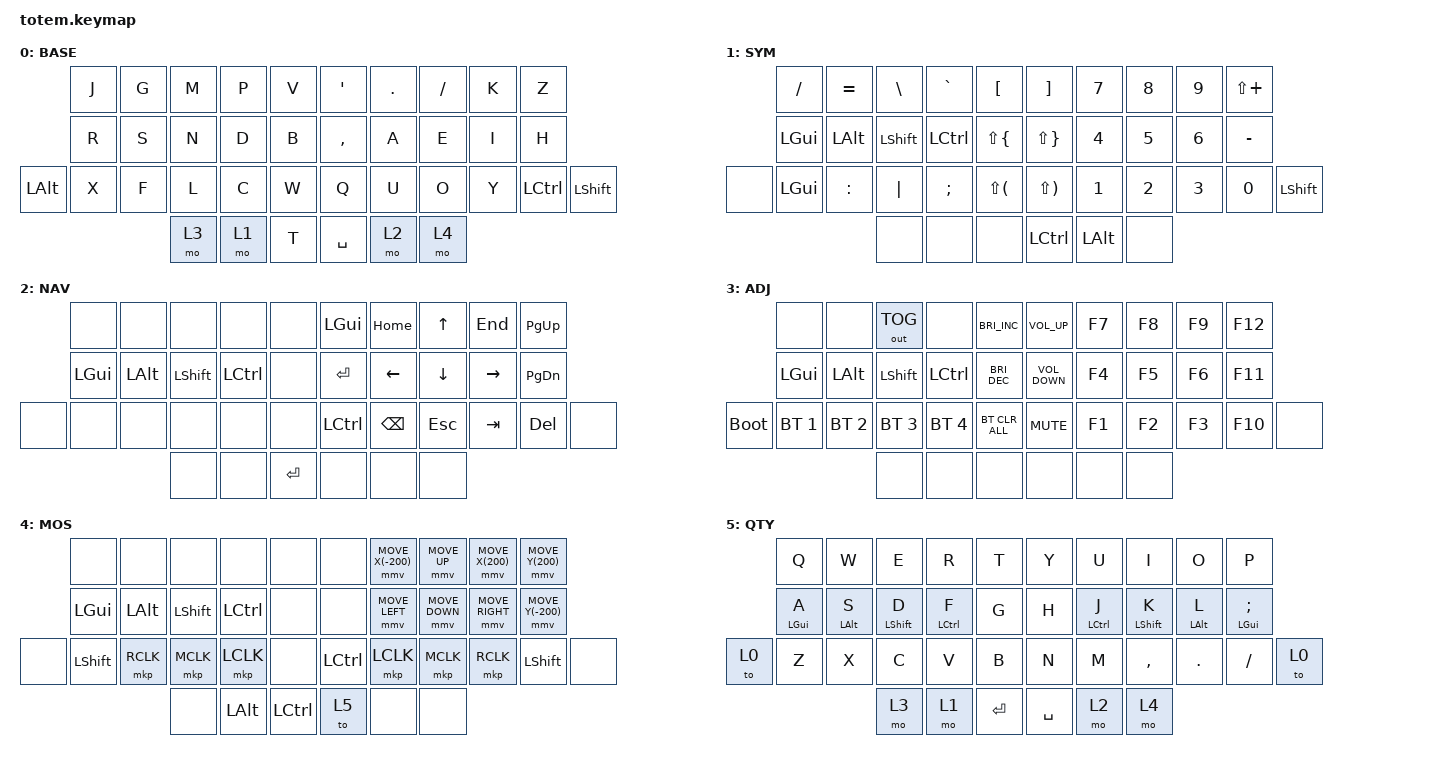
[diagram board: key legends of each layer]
//
//                                                        ▀▀▀▀▀     ▀▀▀▀▀          ▀▀█▀▀
//                                                        ▄▀▀▀▄  ▄  ▄▀▀▀▄  ▄  ▄▀▀▀▄  █  ▄▀▀▀▄
//                                                        █   █  █  █   █  █  █   █  █  █   █
//                                                         ▀▀▀   █   ▀▀▀   █   ▀▀▀   ▀   ▀▀▀
//                                                               █      ▄▄▄█▄▄▄    █   █  
//                                                               ▀      █  █  █     █▄█
//                                                             ▀▀▀▀▀    █  █  █      ▀
//                                                                      ▀  ▀  ▀
//
// ▄▄▄▄▄▄▄▄▄▄▄▄▄▄▄▄▄▄▄▄▄▄▄▄▄▄▄▄▄▄▄▄▄▄▄▄▄▄▄▄▄▄▄▄▄▄▄▄▄▄▄▄▄▄▄▄▄▄▄▄▄▄▄▄▄▄▄▄▄▄▄▄▄▄▄▄▄▄▄▄▄▄▄▄▄▄▄▄▄▄▄▄▄▄▄▄▄▄▄▄▄▄▄▄▄▄▄▄▄▄▄▄▄▄▄▄▄▄▄▄▄▄▄▄▄▄▄▄▄▄▄▄▄▄▄▄▄▄▄▄▄▄▄▄▄▄▄▄▄

#include <behaviors.dtsi>
#include <dt-bindings/zmk/bt.h>
#include <dt-bindings/zmk/keys.h>
#include <dt-bindings/zmk/outputs.h>
#include <dt-bindings/zmk/pointing.h>

#define BASE 0
#define NAV  1
#define SYM  2
#define ADJ  3

/ {
    combos { compatible = "zmk,combos"; };

    keymap {
        compatible = "zmk,keymap";

        // ▄▄▄▄▄▄▄▄▄▄▄▄▄▄▄▄▄▄▄▄▄▄▄▄▄▄▄▄▄▄▄▄▄▄▄▄▄▄▄▄▄▄▄▄▄▄▄▄▄▄▄▄▄▄▄▄▄▄▄▄▄▄▄▄▄▄▄▄▄▄▄▄▄▄▄▄▄▄▄▄▄▄▄▄▄▄▄▄▄▄▄▄▄▄▄▄▄▄▄▄▄▄▄▄▄▄▄▄▄▄▄▄▄▄▄▄▄▄▄▄▄▄▄▄▄▄▄▄▄▄▄▄▄▄▄▄▄▄▄▄▄▄▄▄▄▄▄▄▄

        base_layer {
            // ┏━━━━━━━━━━━━━━━━━━━━━━━━━━━━━━━━━━━━━━━┓

            label = "BASE";

            // ┗━━━━━━━━━━━━━━━━━━━━━━━━━━━━━━━━━━━━━━━┛
            //             ┏━━━━━━━━━━━┳━━━━━━━━━━━┳━━━━━━━━━━━┳━━━━━━━━━━━┳━━━━━━━━━━━┓   ┏━━━━━━━━━━━┳━━━━━━━━━━━┳━━━━━━━━━━━┳━━━━━━━━━━━┳━━━━━━━━━━━┓
            //             ┃     Q     ┃     W     ┃     F     ┃     P     ┃     G     ┃   ┃     J     ┃     L     ┃     U     ┃     Y     ┃     ;     ┃
            //             ┣━━━━━━━━━━━╋━━━━━━━━━━━╋━━━━━━━━━━━╋━━━━━━━━━━━╋━━━━━━━━━━━┫   ┣━━━━━━━━━━━╋━━━━━━━━━━━╋━━━━━━━━━━━╋━━━━━━━━━━━╋━━━━━━━━━━━┫
            //             ┃     A     ┃     R     ┃     S     ┃     T     ┃     D     ┃   ┃     H     ┃     N     ┃     E     ┃     I     ┃     O     ┃
            // ┏━━━━━━━━━━━╋━━━━━━━━━━━╋━━━━━━━━━━━╋━━━━━━━━━━━╋━━━━━━━━━━━╋━━━━━━━━━━━┫   ┣━━━━━━━━━━━╋━━━━━━━━━━━╋━━━━━━━━━━━╋━━━━━━━━━━━╋━━━━━━━━━━━╋━━━━━━━━━━━┓
            // ┃           ┃     Z     ┃     X     ┃     C     ┃     V     ┃     B     ┃   ┃     K     ┃     M     ┃     ,     ┃     .     ┃     /     ┃           ┃
            // ┗━━━━━━━━━━━┻━━━━━━━━━━━┻━━━━━━━━━━━╋━━━━━━━━━━━╋━━━━━━━━━━━╋━━━━━━━━━━━┫   ┣━━━━━━━━━━━╋━━━━━━━━━━━╋━━━━━━━━━━━╋━━━━━━━━━━━┻━━━━━━━━━━━┻━━━━━━━━━━━┛
            //                                     ┃           ┃    TAB    ┃    SPC    ┃   ┃   ENTER   ┃   BSPC    ┃           ┃
            //                                     ┗━━━━━━━━━━━┻━━━━━━━━━━━┻━━━━━━━━━━━┛   ┗━━━━━━━━━━━┻━━━━━━━━━━━┻━━━━━━━━━━━┛

            bindings = <
              &kp J  &kp G  &kp M  &kp P  &kp V    &kp SINGLE_QUOTE  &kp PERIOD  &kp SLASH  &kp K  &kp Z
              &kp R  &kp S  &kp N  &kp D  &kp B    &kp COMMA         &kp A       &kp E      &kp I  &kp H
&kp LEFT_ALT  &kp X  &kp F  &kp L  &kp C  &kp W    &kp Q             &kp U       &kp O      &kp Y  &kp LCTRL  &kp LEFT_SHIFT
                            &mo 3  &mo 1  &kp T    &kp SPACE         &mo 2       &mo 4
            >;
        };

        // ▄▄▄▄▄▄▄▄▄▄▄▄▄▄▄▄▄▄▄▄▄▄▄▄▄▄▄▄▄▄▄▄▄▄▄▄▄▄▄▄▄▄▄▄▄▄▄▄▄▄▄▄▄▄▄▄▄▄▄▄▄▄▄▄▄▄▄▄▄▄▄▄▄▄▄▄▄▄▄▄▄▄▄▄▄▄▄▄▄▄▄▄▄▄▄▄▄▄▄▄▄▄▄▄▄▄▄▄▄▄▄▄▄▄▄▄▄▄▄▄▄▄▄▄▄▄▄▄▄▄▄▄▄▄▄▄▄▄▄▄▄▄▄▄▄▄▄▄▄

        SYM_LAYER {
            // ┏━━━━━━━━━━━━━━━━━━━━━━━━━━━━━━━━━━━━━━━┓

            label = "SYM";

            // ┗━━━━━━━━━━━━━━━━━━━━━━━━━━━━━━━━━━━━━━━┛
            //             ┏━━━━━━━━━━━┳━━━━━━━━━━━┳━━━━━━━━━━━┳━━━━━━━━━━━┳━━━━━━━━━━━┓   ┏━━━━━━━━━━━┳━━━━━━━━━━━┳━━━━━━━━━━━┳━━━━━━━━━━━┳━━━━━━━━━━━┓
            //             ┃           ┃           ┃     UP    ┃           ┃     {     ┃   ┃     }     ┃     7     ┃     8     ┃     9     ┃     +     ┃
            //             ┣━━━━━━━━━━━╋━━━━━━━━━━━╋━━━━━━━━━━━╋━━━━━━━━━━━╋━━━━━━━━━━━┫   ┣━━━━━━━━━━━╋━━━━━━━━━━━╋━━━━━━━━━━━╋━━━━━━━━━━━╋━━━━━━━━━━━┫
            //             ┃   SHIFT   ┃   LEFT    ┃    DOWN   ┃   RIGHT   ┃     [     ┃   ┃     ]     ┃     4     ┃     5     ┃     6     ┃     -     ┃
            // ┏━━━━━━━━━━━╋━━━━━━━━━━━╋━━━━━━━━━━━╋━━━━━━━━━━━╋━━━━━━━━━━━╋━━━━━━━━━━━┫   ┣━━━━━━━━━━━╋━━━━━━━━━━━╋━━━━━━━━━━━╋━━━━━━━━━━━╋━━━━━━━━━━━╋━━━━━━━━━━━┓
            // ┃           ┃           ┃   P UP    ┃  C LOCK   ┃  P DOWN   ┃     (     ┃   ┃     )     ┃     1     ┃     2     ┃     3     ┃     *     ┃           ┃
            // ┗━━━━━━━━━━━┻━━━━━━━━━━━┻━━━━━━━━━━━╋━━━━━━━━━━━╋━━━━━━━━━━━╋━━━━━━━━━━━┫   ┣━━━━━━━━━━━╋━━━━━━━━━━━╋━━━━━━━━━━━╋━━━━━━━━━━━┻━━━━━━━━━━━┻━━━━━━━━━━━┛
            //                                     ┃           ┃    TAB    ┃    SPC    ┃   ┃    DEL    ┃     0     ┃           ┃
            //                                     ┗━━━━━━━━━━━┻━━━━━━━━━━━┻━━━━━━━━━━━┛   ┗━━━━━━━━━━━┻━━━━━━━━━━━┻━━━━━━━━━━━┛

            bindings = <
       &kp SLASH  &kp EQUAL  &kp BSLH   &kp GRAVE  &kp LBKT                    &kp RBKT      &kp N7        &kp N8  &kp N9  &kp LS(PLUS)
       &kp LGUI   &kp LALT   &kp LSHFT  &kp LCTRL  &kp LS(LBRC)                &kp LS(RBRC)  &kp N4        &kp N5  &kp N6  &kp MINUS
&none  &kp LGUI   &kp COLON  &kp PIPE   &kp SEMI   &kp LS(LEFT_PARENTHESIS)    &kp LS(RPAR)  &kp N1        &kp N2  &kp N3  &kp N0        &kp LEFT_SHIFT
                             &none      &none      &none                       &kp LCTRL     &kp LEFT_ALT  &none
            >;
        };

        // ▄▄▄▄▄▄▄▄▄▄▄▄▄▄▄▄▄▄▄▄▄▄▄▄▄▄▄▄▄▄▄▄▄▄▄▄▄▄▄▄▄▄▄▄▄▄▄▄▄▄▄▄▄▄▄▄▄▄▄▄▄▄▄▄▄▄▄▄▄▄▄▄▄▄▄▄▄▄▄▄▄▄▄▄▄▄▄▄▄▄▄▄▄▄▄▄▄▄▄▄▄▄▄▄▄▄▄▄▄▄▄▄▄▄▄▄▄▄▄▄▄▄▄▄▄▄▄▄▄▄▄▄▄▄▄▄▄▄▄▄▄▄▄▄▄▄▄▄▄

        NAV_LAYER {
            // ┏━━━━━━━━━━━━━━━━━━━━━━━━━━━━━━━━━━━━━━━┓

            label = "NAV";

            // ┗━━━━━━━━━━━━━━━━━━━━━━━━━━━━━━━━━━━━━━━┛
            //             ┏━━━━━━━━━━━┳━━━━━━━━━━━┳━━━━━━━━━━━┳━━━━━━━━━━━┳━━━━━━━━━━━┓   ┏━━━━━━━━━━━┳━━━━━━━━━━━┳━━━━━━━━━━━┳━━━━━━━━━━━┳━━━━━━━━━━━┓
            //             ┃     !     ┃     @     ┃     #     ┃     $     ┃     %     ┃   ┃     ˆ     ┃     &     ┃     Ü     ┃     '     ┃     "     ┃
            //             ┣━━━━━━━━━━━╋━━━━━━━━━━━╋━━━━━━━━━━━╋━━━━━━━━━━━╋━━━━━━━━━━━┫   ┣━━━━━━━━━━━╋━━━━━━━━━━━╋━━━━━━━━━━━╋━━━━━━━━━━━╋━━━━━━━━━━━┫
            //             ┃     Ä     ┃           ┃    SZ     ┃           ┃           ┃   ┃   MUTE    ┃   YEN     ┃   EURO    ┃  POUND    ┃     Ö     ┃
            // ┏━━━━━━━━━━━╋━━━━━━━━━━━╋━━━━━━━━━━━╋━━━━━━━━━━━╋━━━━━━━━━━━╋━━━━━━━━━━━┫   ┣━━━━━━━━━━━╋━━━━━━━━━━━╋━━━━━━━━━━━╋━━━━━━━━━━━╋━━━━━━━━━━━╋━━━━━━━━━━━┓
            // ┃           ┃  EMAIL1   ┃  EMAIL2   ┃           ┃           ┃           ┃   ┃   VOL-    ┃   VOL+    ┃   LAST    ┃   NEXT    ┃     \     ┃           ┃
            // ┗━━━━━━━━━━━┻━━━━━━━━━━━┻━━━━━━━━━━━╋━━━━━━━━━━━╋━━━━━━━━━━━╋━━━━━━━━━━━┫   ┣━━━━━━━━━━━╋━━━━━━━━━━━╋━━━━━━━━━━━╋━━━━━━━━━━━┻━━━━━━━━━━━┻━━━━━━━━━━━┛
            //                                     ┃           ┃    GIF    ┃    ADJ    ┃   ┃           ┃           ┃           ┃
            //                                     ┗━━━━━━━━━━━┻━━━━━━━━━━━┻━━━━━━━━━━━┛   ┗━━━━━━━━━━━┻━━━━━━━━━━━┻━━━━━━━━━━━┛

            bindings = <
       &none     &none     &none      &none      &none        &kp LGUI   &kp HOME  &kp UP    &kp END    &kp PG_UP
       &kp LGUI  &kp LALT  &kp LSHFT  &kp LCTRL  &none        &kp ENTER  &kp LEFT  &kp DOWN  &kp RIGHT  &kp PG_DN
&none  &none     &none     &none      &none      &none        &kp LCTRL  &kp BSPC  &kp ESC   &kp TAB    &kp DEL    &none
                           &none      &none      &kp ENTER    &none      &none     &none
            >;
        };

        // ▄▄▄▄▄▄▄▄▄▄▄▄▄▄▄▄▄▄▄▄▄▄▄▄▄▄▄▄▄▄▄▄▄▄▄▄▄▄▄▄▄▄▄▄▄▄▄▄▄▄▄▄▄▄▄▄▄▄▄▄▄▄▄▄▄▄▄▄▄▄▄▄▄▄▄▄▄▄▄▄▄▄▄▄▄▄▄▄▄▄▄▄▄▄▄▄▄▄▄▄▄▄▄▄▄▄▄▄▄▄▄▄▄▄▄▄▄▄▄▄▄▄▄▄▄▄▄▄▄▄▄▄▄▄▄▄▄▄▄▄▄▄▄▄▄▄▄▄▄

        adjust_layer {
            // ┏━━━━━━━━━━━━━━━━━━━━━━━━━━━━━━━━━━━━━━━┓

            label = "ADJ";

            // ┗━━━━━━━━━━━━━━━━━━━━━━━━━━━━━━━━━━━━━━━┛
            //             ┏━━━━━━━━━━━┳━━━━━━━━━━━┳━━━━━━━━━━━┳━━━━━━━━━━━┳━━━━━━━━━━━┓   ┏━━━━━━━━━━━┳━━━━━━━━━━━┳━━━━━━━━━━━┳━━━━━━━━━━━┳━━━━━━━━━━━┓
            //             ┃   RESET   ┃ BT CLEAR  ┃  OUT TOG  ┃           ┃           ┃   ┃           ┃    F7     ┃    F8     ┃    F9     ┃    F12    ┃
            //             ┣━━━━━━━━━━━╋━━━━━━━━━━━╋━━━━━━━━━━━╋━━━━━━━━━━━╋━━━━━━━━━━━┫   ┣━━━━━━━━━━━╋━━━━━━━━━━━╋━━━━━━━━━━━╋━━━━━━━━━━━╋━━━━━━━━━━━┫
            //             ┃ BOOTLOAD  ┃ BT NEXT   ┃           ┃           ┃           ┃   ┃           ┃    F4     ┃    F5     ┃    F6     ┃    F11    ┃
            // ┏━━━━━━━━━━━╋━━━━━━━━━━━╋━━━━━━━━━━━╋━━━━━━━━━━━╋━━━━━━━━━━━╋━━━━━━━━━━━┫   ┣━━━━━━━━━━━╋━━━━━━━━━━━╋━━━━━━━━━━━╋━━━━━━━━━━━╋━━━━━━━━━━━╋━━━━━━━━━━━┓
            // ┃           ┃           ┃ BT PREV   ┃           ┃           ┃           ┃   ┃           ┃    F1     ┃    F2     ┃    F3     ┃    F10    ┃           ┃
            // ┗━━━━━━━━━━━┻━━━━━━━━━━━┻━━━━━━━━━━━╋━━━━━━━━━━━╋━━━━━━━━━━━╋━━━━━━━━━━━┫   ┣━━━━━━━━━━━╋━━━━━━━━━━━╋━━━━━━━━━━━╋━━━━━━━━━━━┻━━━━━━━━━━━┻━━━━━━━━━━━┛
            //                                     ┃           ┃           ┃           ┃   ┃           ┃           ┃           ┃
            //                                     ┗━━━━━━━━━━━┻━━━━━━━━━━━┻━━━━━━━━━━━┛   ┗━━━━━━━━━━━┻━━━━━━━━━━━┻━━━━━━━━━━━┛

            bindings = <
             &none         &none         &out OUT_TOG  &none         &kp C_BRIGHTNESS_INC    &kp C_VOLUME_UP    &kp F7  &kp F8  &kp F9  &kp F12
             &kp LGUI      &kp LALT      &kp LSHFT     &kp LCTRL     &kp C_BRIGHTNESS_DEC    &kp C_VOLUME_DOWN  &kp F4  &kp F5  &kp F6  &kp F11
&bootloader  &bt BT_SEL 1  &bt BT_SEL 2  &bt BT_SEL 3  &bt BT_SEL 4  &bt BT_CLR_ALL          &kp K_MUTE         &kp F1  &kp F2  &kp F3  &kp F10  &none
                                         &none         &none         &none                   &none              &none   &none
            >;
        };

        MOUSE_LAYER {
            bindings = <
       &none      &none      &none      &none         &none        &none      &mmv MOVE_X(-200)  &mmv MOVE_UP    &mmv MOVE_X(200)  &mmv MOVE_Y(200)
       &kp LGUI   &kp LALT   &kp LSHFT  &kp LCTRL     &none        &none      &mmv MOVE_LEFT     &mmv MOVE_DOWN  &mmv MOVE_RIGHT   &mmv MOVE_Y(-200)
&none  &kp LSHFT  &mkp RCLK  &mkp MCLK  &mkp LCLK     &none        &kp LCTRL  &mkp LCLK          &mkp MCLK       &mkp RCLK         &kp LSHFT          &none
                             &none      &kp LEFT_ALT  &kp LCTRL    &to 5      &none              &none
            >;

            label = "MOS";
        };

        QWERTY_LAYER {
            bindings = <
       &kp Q           &kp W           &kp E             &kp R               &kp T        &kp Y      &kp U               &kp I             &kp O           &kp P
       &mt LEFT_GUI A  &mt LEFT_ALT S  &mt LEFT_SHIFT D  &mt LEFT_CONTROL F  &kp G        &kp H      &mt LEFT_CONTROL J  &mt LEFT_SHIFT K  &mt LEFT_ALT L  &mt LEFT_GUI SEMICOLON
&to 0  &kp Z           &kp X           &kp C             &kp V               &kp B        &kp N      &kp M               &kp COMMA         &kp DOT         &kp FSLH                &to 0
                                       &mo 3             &mo 1               &kp ENTER    &kp SPACE  &mo 2               &mo 4
            >;

            label = "QTY";
        };
    };
};
